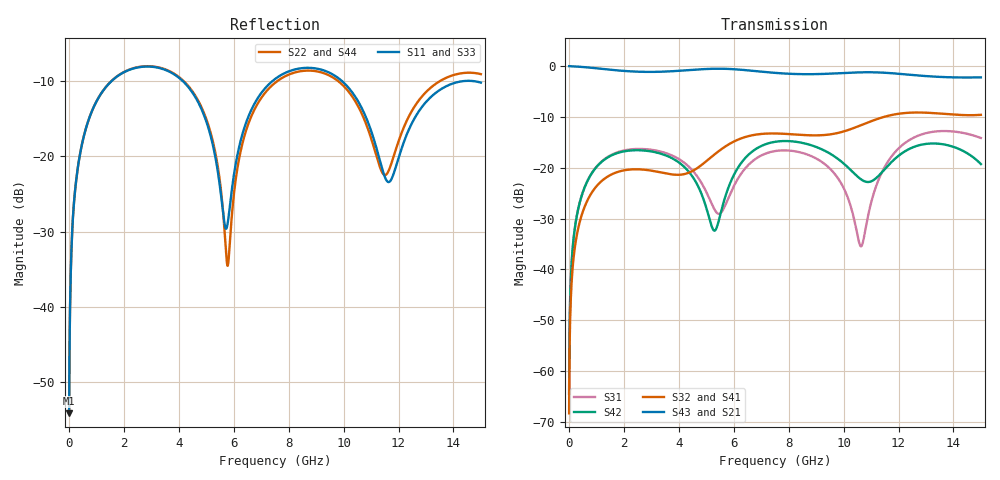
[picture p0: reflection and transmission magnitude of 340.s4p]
! Created with skrf 1.8.0 (http://scikit-rf.org).
# GHz S RI R 50.0
!freq ReS11 ImS11 ReS12 ImS12 ReS13 ImS13
! ReS14 ImS14
! ReS21 ImS21 ReS22 ImS22 ReS23 ImS23
! ReS24 ImS24
! ReS31 ImS31 ReS32 ImS32 ReS33 ImS33
! ReS34 ImS34
! ReS41 ImS41 ReS42 ImS42 ReS43 ImS43
! ReS44 ImS44
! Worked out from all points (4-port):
!   2499 points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, 5 MHz to 15 GHz, reference 50 ohm
!   strongest paths, dB at 5 MHz, 3.476 GHz, 7.19 GHz, 11.1 GHz, 15 GHz:
!     S43: 0.0, -1.1, -1.2, -1.2, -2.2
!     S21: 0.0, -1.1, -1.2, -1.2, -2.2
!     S32: -68.3, -21.1, -13.3, -10.7, -9.6
!     S41: -68.3, -21.1, -13.3, -10.7, -9.6
!     S42: -64.5, -17.5, -15.3, -22.4, -19.3
!     S31: -64.5, -17.0, -17.2, -25.0, -14.1
!   lowest |S11| = -54.1 dB at 5 MHz (marker M1), VSWR 1.00, Z = 50.2 + j0.119 ohm
!   |S11| at or under -10 dB: start of sweep to 1.553 GHz; 4.142 GHz to 7.412 GHz (3.27 GHz wide, 56.6 % of centre); 9.939 GHz to 14.4 GHz (4.457 GHz wide, 36.6 % of centre) (the widest 3 of 4)
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0.005  0.00156 0.00119  0.9984 -0.00304  7.74e-05 0.000594  -7.52e-05 -0.000376
       0.9984 -0.00304  0.00156 0.00119  -7.52e-05 -0.000376  7.72e-05 0.000594
       7.74e-05 0.000594  -7.52e-05 -0.000376  0.00156 0.00119  0.9984 -0.00304
       -7.52e-05 -0.000376  7.72e-05 0.000594  0.9984 -0.00304  0.00156 0.00119
0.3126303  0.0221 0.0787  0.9699 -0.1895  0.00992 0.0354  -0.00812 -0.0223
           0.9699 -0.1895  0.0222 0.0787  -0.00813 -0.0223  0.00948 0.0355
           0.00992 0.0354  -0.00813 -0.0223  0.0221 0.0787  0.9699 -0.1895
           -0.00812 -0.0223  0.00948 0.0355  0.9699 -0.1895  0.0222 0.0787
1.569404  0.2589 0.1851  0.5736 -0.7161  0.122 0.0577  -0.0858 -0.0102
          0.5736 -0.7161  0.2608 0.1839  -0.0859 -0.0101  0.116 0.0653
          0.122 0.0577  -0.0859 -0.0101  0.2589 0.1852  0.5735 -0.7161
          -0.0858 -0.0102  0.116 0.0653  0.5735 -0.7161  0.2609 0.1839
5.78366  0.0338 0.0132  -0.9375 -0.0412  -0.025 0.0419  -0.00359 0.1676
         -0.9375 -0.0412  0.0188 0.000859  -0.00156 0.1677  0.039 0.0475
         -0.025 0.0419  -0.00156 0.1677  0.0344 0.0114  -0.9375 -0.0415
         -0.00359 0.1676  0.039 0.0475  -0.9375 -0.0415  0.0185 -0.000783
8.959983  0.3808 -0.0485  0.0276 0.8324  0.1094 -0.0605  0.1987 -0.0579
          0.0276 0.8324  0.367 -0.0293  0.1986 -0.0623  0.1114 -0.1171
          0.1094 -0.0605  0.1986 -0.0623  0.3784 -0.0482  0.0287 0.8331
          0.1987 -0.0579  0.1114 -0.1171  0.0287 0.8331  0.3657 -0.0308
10.63568  0.1472 -0.1546  0.6876 0.5299  -0.0164 -0.00365  0.158 -0.2091
          0.6876 0.5299  0.1463 -0.1314  0.1528 -0.213  -0.0634 -0.0435
          -0.0164 -0.00365  0.1528 -0.213  0.1464 -0.1523  0.6895 0.5282
          0.158 -0.2091  -0.0634 -0.0435  0.6895 0.5282  0.143 -0.1308
15  0.306 -0.039  -0.0548 -0.7747  0.0782 -0.1799  -0.3244 0.0621
    -0.0548 -0.7747  0.344 -0.0705  -0.3233 0.0735  0.0761 -0.0775
    0.0782 -0.1799  -0.3233 0.0735  0.3078 -0.0394  -0.0588 -0.773
    -0.3244 0.0621  0.0761 -0.0775  -0.0588 -0.773  0.348 -0.0725
